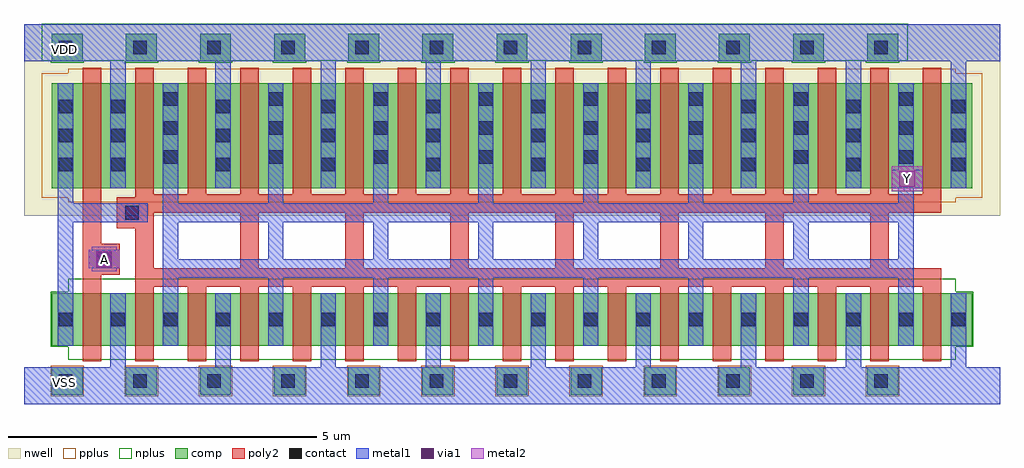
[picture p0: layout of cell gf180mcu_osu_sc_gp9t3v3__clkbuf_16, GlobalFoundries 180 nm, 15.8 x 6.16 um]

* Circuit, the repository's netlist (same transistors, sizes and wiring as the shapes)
* Copyright 2022 Google LLC
*
* Licensed under the Apache License, Version 2.0 (the "License");
* you may not use this file except in compliance with the License.
* You may obtain a copy of the License at
*
*      http://www.apache.org/licenses/LICENSE-2.0
*
* Unless required by applicable law or agreed to in writing, software
* distributed under the License is distributed on an "AS IS" BASIS,
* WITHOUT WARRANTIES OR CONDITIONS OF ANY KIND, either express or implied.
* See the License for the specific language governing permissions and
* limitations under the License.

.inc "/import/yukari1/lrburle/OSU_180/char/techfiles/design.hspice"
.lib "/import/yukari1/lrburle/OSU_180/char/techfiles/sm141064.hspice" typical

.GLOBAL VDD
.GLOBAL VSS

.option scale=0.05u

.subckt gf180mcu_osu_sc_gp9t3v3__clkbuf_16 A Y
X0 Y a_9_19 VDD VDD pmos_3p3 w=34 l=6
X1 Y a_9_19 VDD VDD pmos_3p3 w=34 l=6
X2 Y a_9_19 VDD VDD pmos_3p3 w=34 l=6
X3 VSS a_9_19 Y VSS nmos_3p3 w=17 l=6
X4 VDD a_9_19 Y VDD pmos_3p3 w=34 l=6
X5 VSS a_9_19 Y VSS nmos_3p3 w=17 l=6
X6 Y a_9_19 VSS VSS nmos_3p3 w=17 l=6
X7 VDD a_9_19 Y VDD pmos_3p3 w=34 l=6
X8 Y a_9_19 VSS VSS nmos_3p3 w=17 l=6
X9 Y a_9_19 VDD VDD pmos_3p3 w=34 l=6
X10 VSS a_9_19 Y VSS nmos_3p3 w=17 l=6
X11 VSS a_9_19 Y VSS nmos_3p3 w=17 l=6
X12 VSS a_9_19 Y VSS nmos_3p3 w=17 l=6
X13 Y a_9_19 VDD VDD pmos_3p3 w=34 l=6
X14 VSS A a_9_19 VSS nmos_3p3 w=17 l=6
X15 VSS a_9_19 Y VSS nmos_3p3 w=17 l=6
X16 VDD a_9_19 Y VDD pmos_3p3 w=34 l=6
X17 VDD a_9_19 Y VDD pmos_3p3 w=34 l=6
X18 VDD a_9_19 Y VDD pmos_3p3 w=34 l=6
X19 Y a_9_19 VSS VSS nmos_3p3 w=17 l=6
X20 VDD A a_9_19 VDD pmos_3p3 w=34 l=6
X21 VDD a_9_19 Y VDD pmos_3p3 w=34 l=6
X22 Y a_9_19 VSS VSS nmos_3p3 w=17 l=6
X23 Y a_9_19 VDD VDD pmos_3p3 w=34 l=6
X24 Y a_9_19 VDD VDD pmos_3p3 w=34 l=6
X25 VSS a_9_19 Y VSS nmos_3p3 w=17 l=6
X26 VSS a_9_19 Y VSS nmos_3p3 w=17 l=6
X27 Y a_9_19 VSS VSS nmos_3p3 w=17 l=6
X28 VDD a_9_19 Y VDD pmos_3p3 w=34 l=6
X29 VDD a_9_19 Y VDD pmos_3p3 w=34 l=6
X30 Y a_9_19 VSS VSS nmos_3p3 w=17 l=6
X31 Y a_9_19 VSS VSS nmos_3p3 w=17 l=6
X32 Y a_9_19 VSS VSS nmos_3p3 w=17 l=6
X33 Y a_9_19 VDD VDD pmos_3p3 w=34 l=6
.ends

** hspice subcircuit dictionary

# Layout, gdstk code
import gdstk
lib = gdstk.Library(unit=1e-6, precision=1e-09)
def R(c, l, rs):  # rectangles x0, y0, x1, y1
    for r in rs: c.add(gdstk.rectangle(r[:2], r[2:], *l))
def A(c, l, x, y, w, h, nx, ny, dx, dy):  # array of equal rectangles
    R(c, l, [(x+i*dx, y+j*dy, x+i*dx+w, y+j*dy+h) for i in range(nx) for j in range(ny)])
nwell = (21, 0)
comp = (22, 0)
poly2 = (30, 0)
pplus = (31, 0)
nplus = (32, 0)
contact = (33, 0)
metal1 = (34, 0)
via1 = (35, 0)
metal2 = (36, 0)

gf180mcu_osu_sc_gp9t3v3_ = lib.new_cell('gf180mcu_osu_sc_gp9t3v3__clkbuf_16')
R(gf180mcu_osu_sc_gp9t3v3_, nwell, [(0,3.05,15.8,6.15)])
A(gf180mcu_osu_sc_gp9t3v3_, comp, 0.45, 0.15, 0.5, 0.45, 12, 2, 1.2, 5.4)
R(gf180mcu_osu_sc_gp9t3v3_, comp, [(0.45,0.95,15.35,1.8), (0.45,3.5,15.35,5.2)])
A(gf180mcu_osu_sc_gp9t3v3_, poly2, 1.8, 0.7, 0.3, 1.2, 16, 1, 0.85, 0)
A(gf180mcu_osu_sc_gp9t3v3_, poly2, 3.5, 2.2, 0.3, 0.9, 7, 1, 1.7, 0)
A(gf180mcu_osu_sc_gp9t3v3_, poly2, 1.8, 3.4, 0.3, 2.05, 16, 1, 0.85, 0)
R(gf180mcu_osu_sc_gp9t3v3_, poly2, [(0.95,0.7,1.25,2.1), (1.8,1.9,14.85,2.2), (0.95,2.1,1.55,2.6), (1.8,2.2,2.1,2.85), (0.95,2.6,1.25,5.45), (1.5,2.85,2.1,3.1), (1.5,3.1,14.85,3.35), (1.8,3.35,14.85,3.4)])
A(gf180mcu_osu_sc_gp9t3v3_, pplus, 0.43, 0.13, 0.54, 0.49, 12, 1, 1.2, 0)
R(gf180mcu_osu_sc_gp9t3v3_, pplus, [(0.72,3.27,15.08,3.34), (0.29,3.34,15.51,5.36), (0.72,5.36,15.08,5.43)])
A(gf180mcu_osu_sc_gp9t3v3_, nplus, 0.43, 5.53, 0.54, 0.03, 12, 1, 1.2, 0)
R(gf180mcu_osu_sc_gp9t3v3_, nplus, [(0.72,0.72,15.08,0.93), (0.43,0.93,15.37,1.82), (0.72,1.82,15.08,2.03), (0.29,5.56,14.31,6.16)])
A(gf180mcu_osu_sc_gp9t3v3_, contact, 0.565, 0.265, 0.22, 0.22, 12, 2, 1.2, 5.4)
A(gf180mcu_osu_sc_gp9t3v3_, contact, 0.565, 1.265, 0.22, 0.22, 18, 1, 0.85, 0)
A(gf180mcu_osu_sc_gp9t3v3_, contact, 0.565, 3.77, 0.22, 0.22, 1, 3, 0, 0.47)
A(gf180mcu_osu_sc_gp9t3v3_, contact, 1.415, 3.77, 0.22, 0.22, 9, 3, 1.7, 0.47)
A(gf180mcu_osu_sc_gp9t3v3_, contact, 2.265, 3.895, 0.22, 0.22, 8, 3, 1.7, 0.47)
R(gf180mcu_osu_sc_gp9t3v3_, contact, [(1.19,2.24,1.41,2.46), (1.64,2.99,1.86,3.21)])
A(gf180mcu_osu_sc_gp9t3v3_, metal1, 1.4, 0.6, 0.25, 1.2, 9, 1, 1.7, 0)
A(gf180mcu_osu_sc_gp9t3v3_, metal1, 2.25, 0.95, 0.25, 1.1, 8, 1, 1.7, 0)
A(gf180mcu_osu_sc_gp9t3v3_, metal1, 2.25, 2.35, 0.25, 0.6, 8, 1, 1.7, 0)
A(gf180mcu_osu_sc_gp9t3v3_, metal1, 0.55, 3.25, 0.25, 1.95, 8, 1, 1.7, 0)
A(gf180mcu_osu_sc_gp9t3v3_, metal1, 1.4, 3.5, 0.25, 2.05, 9, 1, 1.7, 0)
R(gf180mcu_osu_sc_gp9t3v3_, metal1, [(0,0,15.8,0.6), (0.55,0.95,0.8,2.95), (2.25,2.05,14.4,2.35), (1.05,2.2,1.55,2.5), (0.55,2.95,2,3.25), (2.25,2.95,14.4,3.25), (14.15,3.25,14.4,3.5), (14.05,3.5,14.55,3.8), (14.15,3.8,14.4,5.2), (0,5.55,15.8,6.15)])
R(gf180mcu_osu_sc_gp9t3v3_, via1, [(1.17,2.22,1.43,2.48), (14.17,3.52,14.43,3.78)])
R(gf180mcu_osu_sc_gp9t3v3_, metal2, [(1.1,2.15,1.5,2.2), (1.05,2.2,1.55,2.5), (1.1,2.5,1.5,2.55), (14.05,3.45,14.55,3.85)])
gf180mcu_osu_sc_gp9t3v3_.add(gdstk.Label('VDD', (0.65,5.75), layer=34, texttype=0))
gf180mcu_osu_sc_gp9t3v3_.add(gdstk.Label('VSS', (0.65,0.35), layer=34, texttype=0))
gf180mcu_osu_sc_gp9t3v3_.add(gdstk.Label('A', (1.3,2.35), layer=36, texttype=10))
gf180mcu_osu_sc_gp9t3v3_.add(gdstk.Label('Y', (14.3,3.65), layer=36, texttype=10))

lib.write_gds('gf180mcu_osu_sc_gp9t3v3__clkbuf_16.gds')
